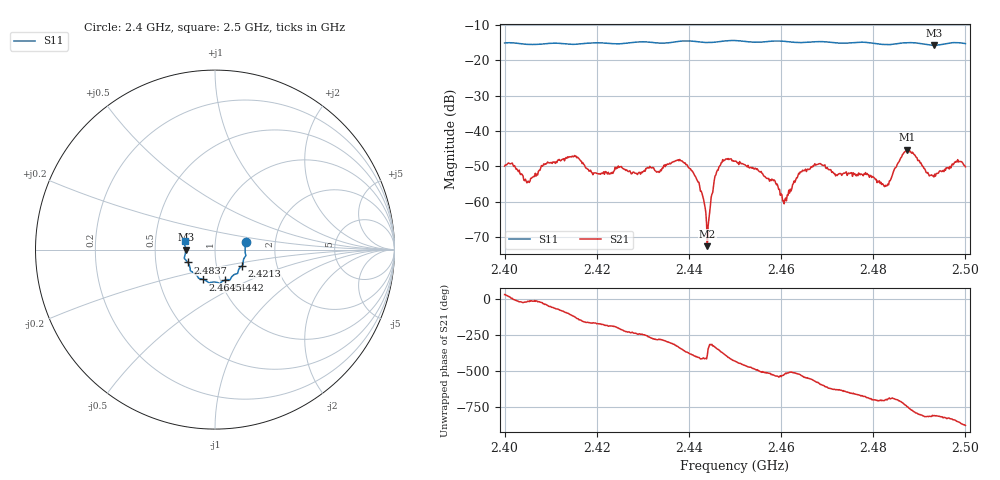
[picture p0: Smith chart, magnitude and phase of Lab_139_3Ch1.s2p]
# Hz S RI R 50
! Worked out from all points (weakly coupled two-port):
!   601 points, 2.4 GHz to 2.5 GHz, reference 50 ohm
!   highest |S21| = -45.24 dB at 2.4873 GHz (marker M1); lowest = -72.6 dB at 2.444 GHz (marker M2)
!   lowest |S11| = -15.7 dB at 2.4932 GHz (marker M3), VSWR 1.39, Z = 35.9 - j0.0569 ohm
!   |S11| at or under -10 dB: start of sweep to end of sweep
!   S12 and S22 are empty: the file has one direction only
!   S11 on the Smith chart (normalised r, x): 2.4 GHz: 1.41, +0.12; 2.4213 GHz: 1.33, -0.25; 2.4442 GHz: 1.05, -0.37; 2.4645 GHz: 0.83, -0.29; 2.4837 GHz: 0.73, -0.11; 2.5 GHz: 0.71, +0.07
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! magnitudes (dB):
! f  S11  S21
! 2.4 GHz  -15.1  -49.9
! 2.405 GHz  -15.5  -54.3
! 2.409 GHz  -15.3  -49.3
! 2.4167 GHz  -15.3  -48.5
! 2.4213 GHz  -15.1  -52.0
! 2.4333 GHz  -15.1  -51.4
! 2.4393 GHz  -14.5  -49.5
! 2.4418 GHz  -14.7  -54.0
! 2.444 GHz  -15.0  -72.6
! 2.4442 GHz  -15.0  -66.9
! 2.4462 GHz  -14.8  -51.1
! 2.4478 GHz  -14.5  -48.2
! 2.45 GHz  -14.4  -48.6
! 2.4585 GHz  -14.5  -53.8
! 2.4607 GHz  -14.6  -60.6
! 2.4645 GHz  -15.0  -51.5
! 2.4667 GHz  -14.8  -50.3
! 2.4833 GHz  -15.6  -55.2
! 2.4837 GHz  -15.5  -54.1
! 2.4873 GHz  -15.0  -45.2
! 2.4932 GHz  -15.7  -53.0
! 2.5 GHz  -15.3  -50.1
